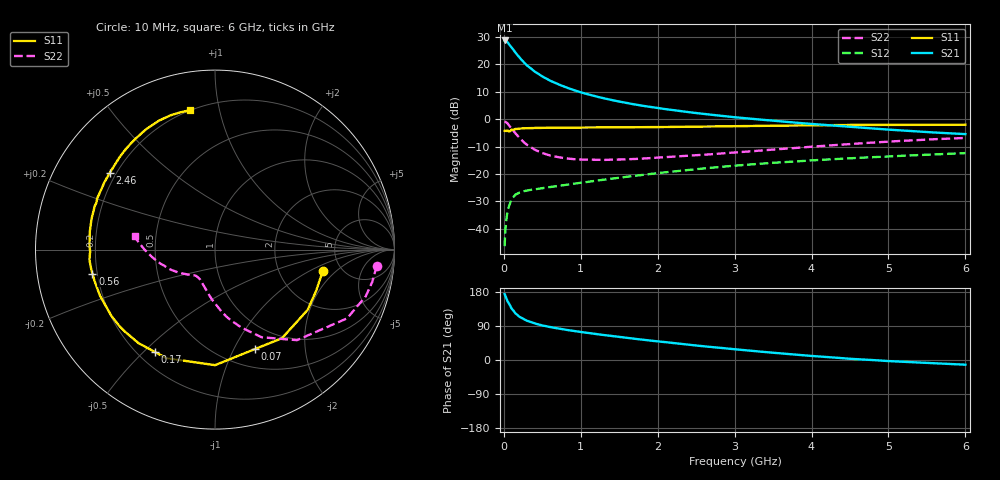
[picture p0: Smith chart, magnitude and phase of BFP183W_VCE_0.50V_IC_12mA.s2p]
! Infineon Technologies  Discrete & RF Semiconductors
! BFP183W
! VCE = 0.50V,  IC =  12 mA
! Common Emitter S-Parameters:  Jan 2016
# GHz  S  MA  R  50
!  f  S11  S21  S12  S22
! GHz  MAG  ANG  MAG  ANG  MAG  ANG  MAG  ANG
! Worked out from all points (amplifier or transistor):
!   210 points, 10 MHz to 6 GHz, reference 50 ohm
!   highest |S21| = 28.7 dB at 10 MHz (marker M1)
!   |S21| within 3 dB of that: start of sweep to 113.8 MHz
!   unconditionally stable (mu >= 1): 747.9 MHz to end of sweep
!   at 185 MHz: K = 0.34, MSG = 25.1 dB, |S12| = -27.1 dB
!   at 1.52 GHz: K = 1.39, MAG = 10.1 dB, |S12| = -21.3 dB
!   at 6 GHz: K = 1.29, MAG = 0.2 dB, |S12| = -12.4 dB
!   S11 on the Smith chart (normalised r, x): 10 MHz: 3.58, -1.39; 70 MHz: 0.71, -1.22; 170 MHz: 0.27, -0.54; 560 MHz: 0.18, -0.09; 2.46 GHz: 0.18, +0.32; 6 GHz: 0.20, +0.82
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0.01  0.6122 -11.4  27.32 174.0  0.0048 85.6  0.9056 -5.7
0.02  0.6086 -22.3  27.14 169.5  0.0095 78.2  0.8945 -11.6
0.03  0.6159 -33.0  26.77 164.3  0.0137 75.7  0.8792 -17.2
0.05  0.6189 -52.9  25.15 154.4  0.0216 67.1  0.8296 -27.5
0.07  0.5973 -68.0  23.04 147.9  0.0265 59.0  0.7591 -34.7
0.1  0.6439 -90.0  20.57 136.0  0.0344 51.3  0.6809 -47.8
0.15  0.6626 -114.1  16.45 123.0  0.0419 42.4  0.5532 -62.0
0.17  0.6612 -120.2  15.2 120.0  0.0433 40.3  0.5129 -65.4
0.2  0.6732 -129.3  13.42 114.4  0.0454 37.3  0.4565 -71.5
0.24  0.6788 -137.8  11.69 109.7  0.0475 34.6  0.4025 -77.5
0.3  0.6853 -147.4  9.574 103.6  0.0499 32.7  0.3408 -84.7
0.4  0.6905 -158.2  7.399 96.4  0.0525 31.1  0.2778 -93.6
0.56  0.6957 -168.9  5.429 88.7  0.0566 32.3  0.2264 -103.1
0.8  0.6959 -179.0  3.832 79.8  0.0629 35.4  0.193 -113.3
1.02  0.7016 174.3  3.028 73.5  0.0695 37.9  0.1828 -119.4
1.42  0.7094 164.5  2.208 62.8  0.0825 41.2  0.1824 -127.1
2.02  0.7169 152.0  1.578 48.8  0.1042 43.2  0.1994 -135.3
2.46  0.7255 144.0  1.312 39.2  0.1207 42.5  0.2172 -141.7
3.1  0.7452 133.1  1.052 26.5  0.145 40.1  0.2521 -151.2
4.1  0.7742 118.4  0.798 9.3  0.18 34.5  0.3214 -167.2
5.1  0.7879 107.5  0.631 -3.7  0.2118 28.2  0.3961 179.3
6  0.7891 100.2  0.533 -12.4  0.2401 22.7  0.454 170.5
